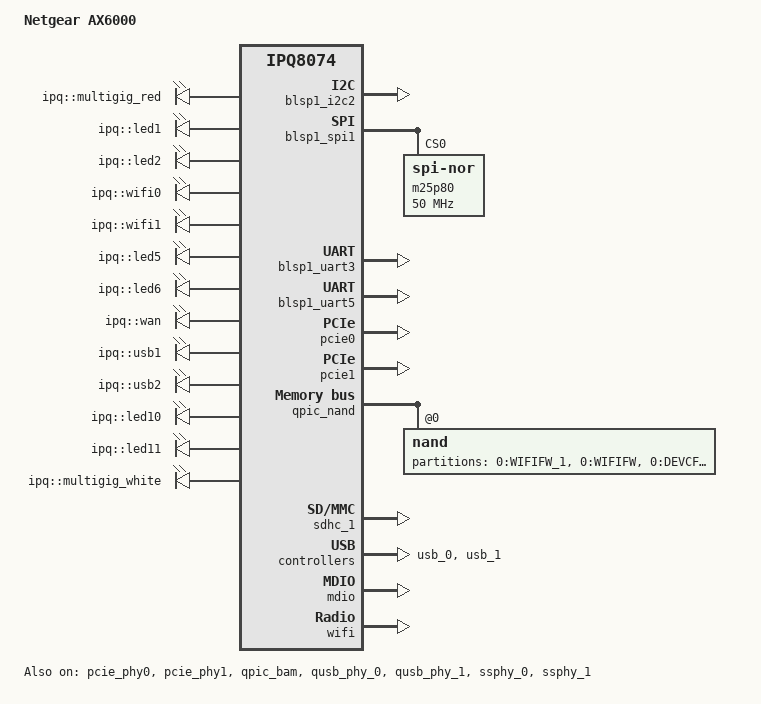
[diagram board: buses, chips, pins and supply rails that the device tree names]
// SPDX-License-Identifier: GPL-2.0-only
/dts-v1/;
/* Copyright (c) 2017, The Linux Foundation. All rights reserved.
 */
#include "ipq8074.dtsi"
#include <dt-bindings/gpio/gpio.h>
#include <dt-bindings/input/input.h>

/ {
	#address-cells = <0x2>;
	#size-cells = <0x2>;
	model = "Netgear AX6000";
	compatible = "netgear,rax120", "qcom,ipq8074";
	interrupt-parent = <&intc>;

	aliases {
		serial0 = &blsp1_uart5;
		serial1 = &blsp1_uart3;
	};

	chosen {
		stdout-path = "serial0:115200n8";
		bootargs-append = " swiotlb=1";
	};
	
	ledc_pins: ledc_pinmux {
		led_clk {
			pins = "gpio18";
			function = "led0";
			drive-strength = <8>;
			bias-pull-down;
		};
		led_data {
			pins = "gpio19";
			function = "led1";
			drive-strength = <8>;
			bias-pull-down;
		};
		led_clr {
			pins = "gpio20";
			function = "led2";
			drive-strength = <8>;
			bias-pull-up;
		};
	};
	
	leds {
	compatible = "gpio-leds";
	pinctrl-0 = <&ledc_pins>;
	pinctrl-names = "default";
	status = "ok";
	led0 {
		label = "ipq::multigig_red";
		linux,default-trigger = "led_wifi_son_green";
	};
	led1 {
		label = "ipq::led1";
		linux,default-trigger = "led_wifi_son_orange";
	};
	led2 {
		label = "ipq::led2";
		linux,default-trigger = "led_wifi_son_blue";
	};
	led3 {
		label = "ipq::wifi0";
		linux,default-trigger = "led_2g";
	};
	led4 {
		label = "ipq::wifi1";
		linux,default-trigger = "led_5gl";
	};
	led5 {
		label = "ipq::led5";
		linux,default-trigger = "led_5gh";
	};
	led6 {
		label = "ipq::led6";
		linux,default-trigger = "led_lan";
	};
	led7 {
		label = "ipq::wan";
		linux,default-trigger = "led_wan";
	};
	led8 {
		label = "ipq::usb1";
		linux,default-trigger = "led_10g_link";
	};
	led9 {
		label = "ipq::usb2";
		linux,default-trigger = "led_sfp";
	};
	led10 {
		label = "ipq::led10";
		linux,default-trigger = "led_bt";
	};
	led11 {
		label = "ipq::led11";
		linux,default-trigger = "none";
	};
	led12 {
		label = "ipq::multigig_white";
		linux,default-trigger = "none";
	};
};

	button_pins: button_pins {
		wps_button {
			pins = "gpio57";
			function = "gpio";
			drive-strength = <8>;
			bias-pull-up;
		};
	};
	
	
};
	


&blsp1_i2c2 {
    status = "ok";
};


&blsp1_spi1 {
	status = "ok";

	m25p80@0 {
		#address-cells = <1>;
		#size-cells = <1>;
		compatible = "jedec,spi-nor";
		reg = <0>;
		spi-max-frequency = <50000000>;
	};
};

&blsp1_uart3 {
	status = "ok";
};

&blsp1_uart5 {
	status = "ok";
};

&pcie0 {
	status = "ok";
	perst-gpio = <&tlmm 61 0x1>;
};

&pcie1 {
	status = "ok";
	perst-gpio = <&tlmm 58 0x1>;
};

&pcie_phy0 {
	status = "ok";
};

&pcie_phy1 {
	status = "ok";
};

&qpic_bam {
	status = "ok";
};

&qpic_nand {
	status = "ok";

	nand@0 {
		reg = <0>;
		nand-ecc-strength = <4>;
		nand-ecc-step-size = <512>;
		nand-bus-width = <8>;
	
	partitions {
		    compatible = "fixed-partitions";
		    #address-cells = <1>;
		    #size-cells = <1>;
		    
		    partition@7500000 {
			reg = <0x7500000 0x900000>;
			label = "0:WIFIFW_1";
			read-only;
		    };

		    partition@3e00000 {
			reg = <0x3e00000 0x900000>;
			label = "0:WIFIFW";
			read-only;
		    };

		    partition@900000 {
			reg = <0x900000 0x80000>;
			label = "0:DEVCFG";
			read-only;
		    };

		    partition@4700000 {
			reg = <0x4700000 0x2e00000>;
			label = "rootfs_1";
		    };

		    partition@f80000 {
			reg = <0xf80000 0x80000>;
			label = "0:ART";
			read-only;
		    };

		    partition@980000 {
			reg = <0x980000 0x80000>;
			label = "0:DEVCFG_1";
			read-only;
		    };

		    partition@a80000 {
			reg = <0xa80000 0x80000>;
			label = "0:APDP_1";
			read-only;
		    };

		    partition@100000 {
			reg = <0x100000 0x100000>;
			label = "0:MIBIB";
			read-only;
		    };

		    partition@1000000 {
			reg = <0x1000000 0x2e00000>;
			label = "rootfs";
		    };

		    partition@a00000 {
			reg = <0xa00000 0x80000>;
			label = "0:APDP";
			read-only;
		    };

		    partition@d80000 {
			reg = <0xd80000 0x100000>;
			label = "0:APPSBL";
			read-only;
		    };

		    partition@0 {
			reg = <0x00 0x100000>;
			label = "0:SBL1";
			read-only;
		    };

		    partition@e80000 {
			reg = <0xe80000 0x100000>;
			label = "0:APPSBL_1";
			read-only;
		    };

		    partition@c00000 {
			reg = <0xc00000 0x80000>;
			label = "0:CDT";
			read-only;
		    };

		    partition@b00000 {
			reg = <0xb00000 0x80000>;
			label = "0:RPM";
			read-only;
		    };

		    partition@b80000 {
			reg = <0xb80000 0x80000>;
			label = "0:RPM_1";
			read-only;
		    };

		    partition@7e00000 {
			reg = <0x7e00000 0x80000>;
			label = "0:ETHPHYFW";
			read-only;
		    };

		    partition@d00000 {
			reg = <0xd00000 0x80000>;
			label = "0:APPSBLENV";
			read-only;
		    };

		    partition@c80000 {
			reg = <0xc80000 0x80000>;
			label = "0:CDT_1";
			read-only;
		    };

		    partition@280000 {
			reg = <0x280000 0x80000>;
			label = "0:BOOTCONFIG1";
			read-only;
		    };

		    partition@200000 {
			reg = <0x200000 0x80000>;
			label = "0:BOOTCONFIG";
			read-only;
		    };

		    partition@600000 {
			reg = <0x600000 0x300000>;
			label = "0:QSEE_1";
			read-only;
		    };

		    partition@300000 {
			reg = <0x300000 0x300000>;
			label = "0:QSEE";
			read-only;
		    };
		};
	};
};
	
&sdhc_1 {
	status = "ok";
};

&qusb_phy_0 {
	status = "ok";
};

&qusb_phy_1 {
	status = "ok";
};

&ssphy_0 {
	status = "ok";
};

&ssphy_1 {
	status = "ok";
};

&usb_0 {
	status = "ok";
};

&usb_1 {
	status = "ok";
};

&mdio {
	status = "okay";

	pinctrl-0 = <&mdio_pins>;
	pinctrl-names = "default";
};

&wifi {
	status = "okay";
	
};

